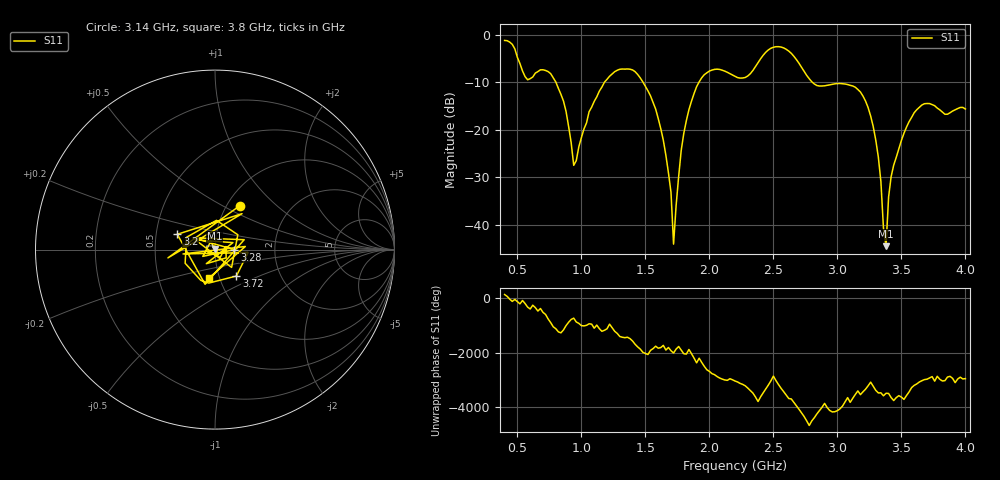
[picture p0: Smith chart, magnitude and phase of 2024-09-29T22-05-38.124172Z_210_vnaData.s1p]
!Created with skrf (http://scikit-rf.org).
# Hz S RI R 50.0
!freq ReS11 ImS11
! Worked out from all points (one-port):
!   181 points, 400 MHz to 4 GHz, reference 50 ohm
!   lowest |S11| = -44.5 dB at 3.38 GHz (marker M1), VSWR 1.01, Z = 49.9 + j0.581 ohm
!   |S11| at or under -10 dB: 801.3 MHz to 1.179 GHz (377.8 MHz wide, 38.2 % of centre); 1.482 GHz to 1.918 GHz (435.6 MHz wide, 25.6 % of centre); 2.806 GHz to end of sweep
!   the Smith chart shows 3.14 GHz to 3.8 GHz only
!   S11 on the Smith chart (normalised r, x): 3.14 GHz: 1.15, +0.61; 3.2 GHz: 0.64, +0.12; 3.28 GHz: 1.24, -0.00; 3.72 GHz: 1.21, -0.37; 3.8 GHz: 0.89, -0.29
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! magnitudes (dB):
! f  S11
! 400 MHz  -1.2
! 580 MHz  -9.4
! 860 MHz  -13.9
! 940 MHz  -27.5
! 1.06 GHz  -16.2
! 1.3 GHz  -7.2
! 1.58 GHz  -15.6
! 1.68 GHz  -29.0
! 1.7 GHz  -33.2
! 1.72 GHz  -44.0
! 1.76 GHz  -29.7
! 1.82 GHz  -18.0
! 1.92 GHz  -9.9
! 2.2 GHz  -8.7
! 2.5 GHz  -2.6
! 2.66 GHz  -4.5
! 2.84 GHz  -10.7
! 3.1 GHz  -10.6
! 3.14 GHz  -11.0
! 3.2 GHz  -12.9
! 3.28 GHz  -19.3
! 3.32 GHz  -25.7
! 3.38 GHz  -44.5
! 3.42 GHz  -29.8
! 3.56 GHz  -18.3
! 3.72 GHz  -14.5
! 3.8 GHz  -15.8
! 4 GHz  -15.6
